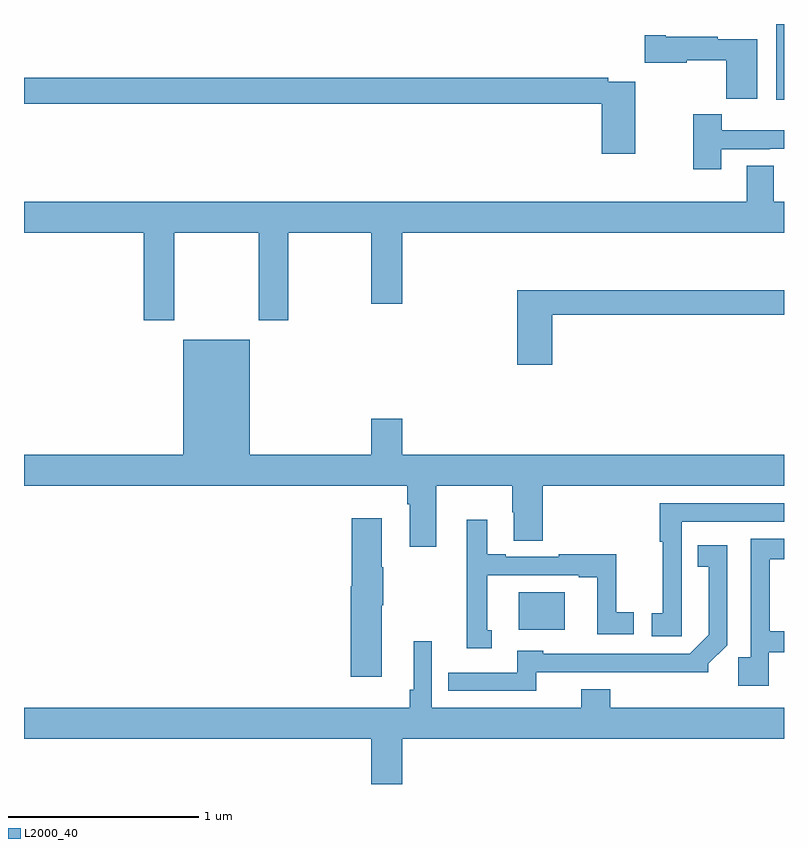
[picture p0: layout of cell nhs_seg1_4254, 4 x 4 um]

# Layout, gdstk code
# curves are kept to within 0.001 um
import gdstk
lib = gdstk.Library(unit=1e-6, precision=1e-09)
def R(c, l, rs):  # rectangles x0, y0, x1, y1
    for r in rs: c.add(gdstk.rectangle(r[:2], r[2:], *l))
def P(c, l, *ps):  # polygons
    for p in ps: c.add(gdstk.Polygon(p, *l))
L2000_40 = (2000, 40)

nhs_seg1_4254 = lib.new_cell('nhs_seg1_4254')
R(nhs_seg1_4254, L2000_40, [(345.605,515.012,345.847,515.209), (346.958,517.8,347,518.199)])
P(nhs_seg1_4254, L2000_40, [(346.858,518.119),(346.65,518.119),(346.65,518.131),(346.378,518.131),(346.378,518.139),(346.266,518.139),(346.266,517.996),(346.488,517.996),(346.488,518.009),(346.696,518.009),(346.696,517.805),(346.858,517.805)],
  [(346.218,517.896),(346.076,517.896),(346.076,517.916),(343,517.916),(343,517.78),(346.04,517.78),(346.04,517.515),(346.218,517.515)],
  [(346.669,517.539),(346.925,517.539),(346.925,517.542),(347,517.542),(347,517.639),(346.672,517.639),(346.672,517.723),(346.522,517.723),(346.522,517.434),(346.669,517.434)],
  [(343.791,517.1),(344.236,517.1),(344.236,516.639),(344.391,516.639),(344.391,517.1),(344.828,517.1),(344.828,516.726),(344.992,516.726),(344.992,517.1),(347,517.1),(347,517.264),(346.945,517.264),(346.945,517.454),(346.805,517.454),(346.805,517.264),(343,517.264),(343,517.1),(343.631,517.1),(343.631,516.639),(343.791,516.639)],
  [(345.779,516.67),(347,516.67),(347,516.799),(345.596,516.799),(345.596,516.405),(345.779,516.405)],
  [(345.169,515.768),(345.571,515.768),(345.571,515.63),(345.578,515.63),(345.578,515.479),(345.731,515.479),(345.731,515.768),(347,515.768),(347,515.932),(344.992,515.932),(344.992,516.121),(344.828,516.121),(344.828,515.932),(344.188,515.932),(344.188,516.538),(343.838,516.538),(343.838,515.932),(343,515.932),(343,515.768),(345.017,515.768),(345.017,515.672),(345.029,515.672),(345.029,515.448),(345.169,515.448)],
  [(346.462,515.252),(346.461,515.252),(346.461,515.58),(347,515.58),(347,515.676),(346.345,515.676),(346.345,515.473),(346.363,515.473),(346.363,515.097),(346.305,515.097),(346.305,514.977),(346.462,514.977)],
  [(344.884,515.141),(344.892,515.141),(344.892,515.341),(344.884,515.341),(344.884,515.599),(344.726,515.599),(344.726,515.241),(344.72,515.241),(344.72,514.764),(344.884,514.764)],
  [(345.463,515.007),(345.439,515.007),(345.439,515.298),(345.92,515.298),(345.92,515.286),(346.016,515.286),(346.016,514.986),(346.21,514.986),(346.21,515.102),(346.116,515.102),(346.116,515.407),(345.814,515.407),(345.814,515.394),(345.535,515.394),(345.535,515.407),(345.439,515.407),(345.439,515.59),(345.329,515.59),(345.329,515.345),(345.33,515.345),(345.33,514.913),(345.463,514.913)],
  [(346.92,514.893),(347,514.893),(347,515.002),(346.925,515.002),(346.925,515.382),(347,515.382),(347,515.49),(346.824,515.49),(346.824,514.867),(346.759,514.867),(346.759,514.716),(346.92,514.716)],
  [(345.696,514.788),(346.602,514.787),(346.602,514.831),(346.701,514.93),(346.701,515.455),(346.546,515.455),(346.546,515.342),(346.604,515.342),(346.604,514.985),(346.503,514.884),(345.732,514.884),(345.732,514.9),(345.596,514.9),(345.596,514.785),(345.232,514.785),(345.232,514.689),(345.696,514.689)],
  [(344.992,514.436),(347,514.436),(347,514.6),(346.085,514.6),(346.085,514.699),(345.932,514.699),(345.932,514.6),(345.147,514.6),(345.147,514.951),(345.05,514.951),(345.05,514.696),(345.031,514.696),(345.031,514.6),(343,514.6),(343,514.436),(344.828,514.436),(344.828,514.199),(344.992,514.199)])

lib.write_gds('nhs_seg1_4254.gds')
